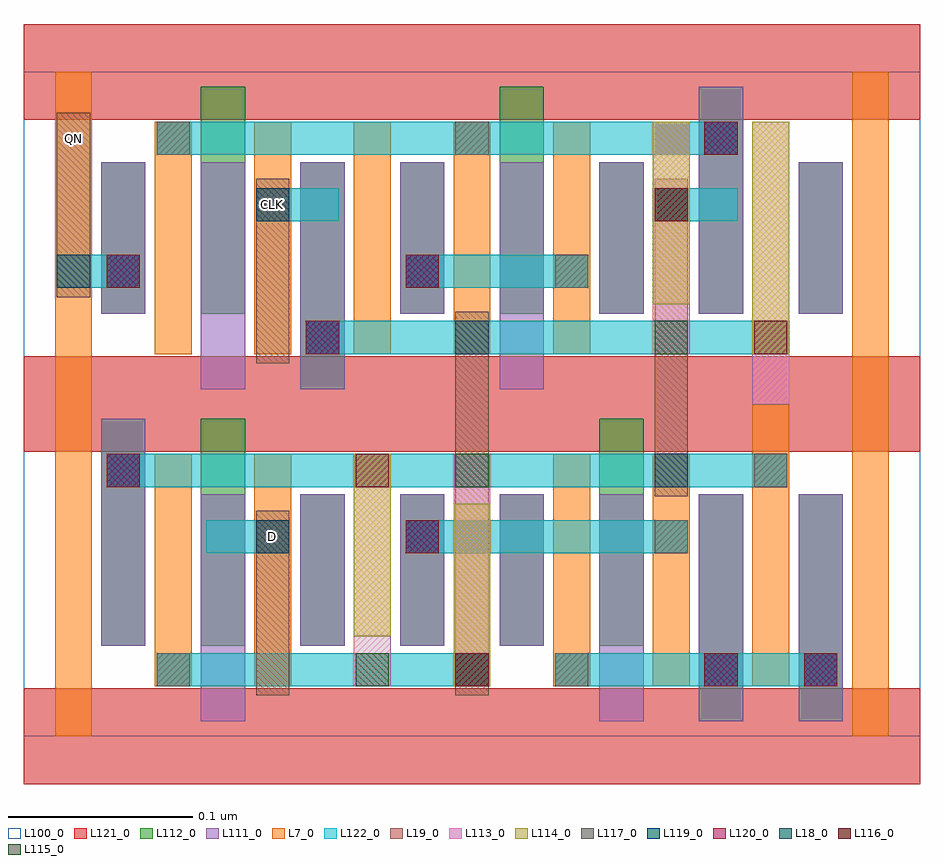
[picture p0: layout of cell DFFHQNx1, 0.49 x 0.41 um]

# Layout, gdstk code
import gdstk
lib = gdstk.Library(unit=1e-6, precision=2.5e-10)
def R(c, l, rs):  # rectangles x0, y0, x1, y1
    for r in rs: c.add(gdstk.rectangle(r[:2], r[2:], *l))
def A(c, l, x, y, w, h, nx, ny, dx, dy):  # array of equal rectangles
    R(c, l, [(x+i*dx, y+j*dy, x+i*dx+w, y+j*dy+h) for i in range(nx) for j in range(ny)])
L7_0 = (7, 0)
L18_0 = (18, 0)
L19_0 = (19, 0)
L100_0 = (100, 0)
L111_0 = (111, 0)
L112_0 = (112, 0)
L113_0 = (113, 0)
L114_0 = (114, 0)
L115_0 = (115, 0)
L116_0 = (116, 0)
L117_0 = (117, 0)
L119_0 = (119, 0)
L120_0 = (120, 0)
L121_0 = (121, 0)
L122_0 = (122, 0)

dffhqnx1 = lib.new_cell('DFFHQNx1')
A(dffhqnx1, L7_0, 0.071, 0.207, 0.02, 0.126, 5, 1, 0.054, 0)
R(dffhqnx1, L7_0, [(0.017,0,0.037,0.18), (0.449,0,0.469,0.18), (0.071,0.027,0.091,0.153), (0.125,0.027,0.145,0.153), (0.287,0.027,0.307,0.153), (0.341,0.027,0.361,0.153), (0.395,0.027,0.415,0.18), (0.017,0.18,0.037,0.36), (0.449,0.18,0.469,0.36)])
R(dffhqnx1, L18_0, [(0.234,0.027,0.252,0.045), (0.126,0.099,0.144,0.117), (0.342,0.135,0.36,0.153), (0.234,0.207,0.252,0.225), (0.018,0.243,0.036,0.261), (0.126,0.279,0.144,0.297), (0.342,0.279,0.36,0.297)])
R(dffhqnx1, L19_0, [(0.126,0.022,0.144,0.122), (0.234,0.022,0.252,0.23), (0.342,0.13,0.36,0.302), (0.126,0.202,0.144,0.302), (0.018,0.238,0.036,0.338)])
R(dffhqnx1, L100_0, [(0,0,0.486,0.36)])
A(dffhqnx1, L111_0, 0.312, 0.008, 0.024, 0.123, 3, 1, 0.054, 0)
A(dffhqnx1, L111_0, 0.15, 0.049, 0.024, 0.082, 3, 1, 0.054, 0)
A(dffhqnx1, L111_0, 0.204, 0.229, 0.024, 0.082, 3, 1, 0.108, 0)
R(dffhqnx1, L111_0, [(0.096,0.008,0.12,0.131), (0.042,0.049,0.066,0.172), (0.096,0.188,0.12,0.311), (0.15,0.188,0.174,0.311), (0.258,0.188,0.282,0.311), (0.042,0.229,0.066,0.311), (0.366,0.229,0.39,0.352)])
A(dffhqnx1, L112_0, 0.15, 0.049, 0.024, 0.082, 3, 1, 0.054, 0)
A(dffhqnx1, L112_0, 0.204, 0.229, 0.024, 0.082, 3, 1, 0.108, 0)
R(dffhqnx1, L112_0, [(0.366,0.008,0.39,0.131), (0.42,0.008,0.444,0.131), (0.042,0.049,0.066,0.172), (0.096,0.049,0.12,0.172), (0.312,0.049,0.336,0.172), (0.15,0.188,0.174,0.311), (0.042,0.229,0.066,0.311), (0.096,0.229,0.12,0.352), (0.258,0.229,0.282,0.352), (0.366,0.229,0.39,0.352)])
R(dffhqnx1, L113_0, [(0.179,0.027,0.199,0.153), (0.233,0.027,0.253,0.153), (0.395,0.18,0.415,0.333), (0.341,0.207,0.361,0.333)])
R(dffhqnx1, L114_0, [(0.233,0.027,0.253,0.126), (0.179,0.054,0.199,0.153), (0.395,0.207,0.415,0.333), (0.341,0.234,0.361,0.333)])
R(dffhqnx1, L115_0, [(0.18,0.027,0.198,0.045), (0.234,0.135,0.252,0.153), (0.342,0.207,0.36,0.225)])
R(dffhqnx1, L116_0, [(0.234,0.027,0.252,0.045), (0.18,0.135,0.198,0.153), (0.396,0.207,0.414,0.225), (0.342,0.279,0.36,0.297)])
R(dffhqnx1, L117_0, [(0.072,0.027,0.09,0.045), (0.288,0.027,0.306,0.045), (0.126,0.099,0.144,0.117), (0.342,0.099,0.36,0.117), (0.396,0.135,0.414,0.153), (0.288,0.243,0.306,0.261), (0.126,0.279,0.144,0.297), (0.072,0.315,0.09,0.333), (0.234,0.315,0.252,0.333)])
R(dffhqnx1, L119_0, [(0.369,0.027,0.387,0.045), (0.423,0.027,0.441,0.045), (0.207,0.099,0.225,0.117), (0.045,0.135,0.063,0.153), (0.153,0.207,0.171,0.225), (0.045,0.243,0.063,0.261), (0.207,0.243,0.225,0.261), (0.369,0.315,0.387,0.333)])
R(dffhqnx1, L120_0, [(0.369,0.027,0.387,0.045), (0.423,0.027,0.441,0.045), (0.207,0.099,0.225,0.117), (0.045,0.135,0.063,0.153), (0.153,0.207,0.171,0.225), (0.045,0.243,0.063,0.261), (0.207,0.243,0.225,0.261), (0.369,0.315,0.387,0.333)])
A(dffhqnx1, L121_0, 0, -0.026, 0.486, 0.052, 1, 3, 0, 0.18)
R(dffhqnx1, L122_0, [(0.072,0.027,0.252,0.045), (0.288,0.027,0.441,0.045), (0.099,0.099,0.144,0.117), (0.207,0.099,0.36,0.117), (0.045,0.135,0.414,0.153), (0.153,0.207,0.414,0.225), (0.018,0.243,0.063,0.261), (0.207,0.243,0.306,0.261), (0.126,0.279,0.171,0.297), (0.342,0.279,0.387,0.297), (0.072,0.315,0.387,0.333)])
dffhqnx1.add(gdstk.Label('QN', (0.027,0.324), layer=19, texttype=251))
dffhqnx1.add(gdstk.Label('D', (0.135,0.108), layer=19, texttype=251))
dffhqnx1.add(gdstk.Label('CLK', (0.135,0.288), layer=19, texttype=251))

lib.write_gds('DFFHQNx1.gds')
